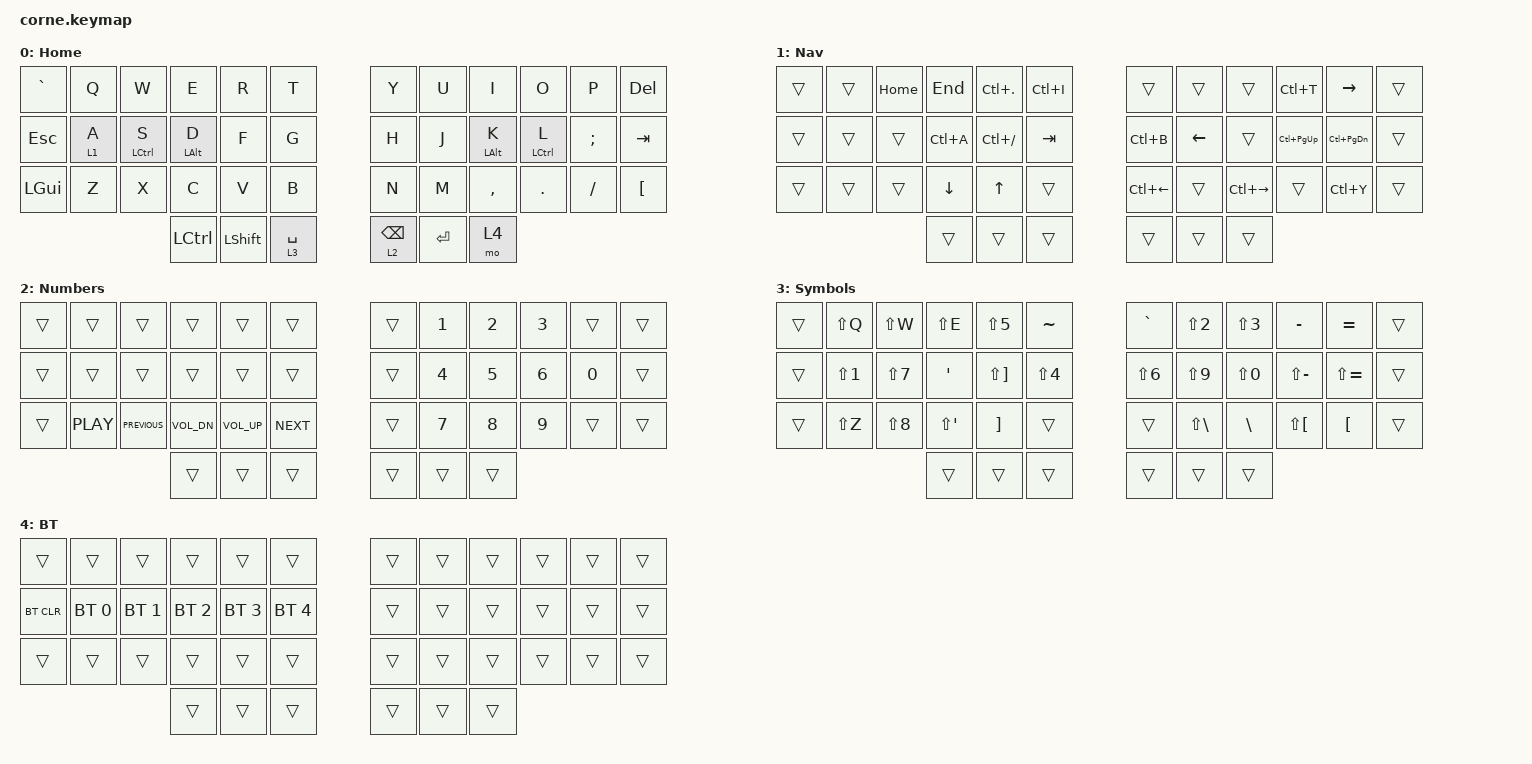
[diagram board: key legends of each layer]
/*
 * Copyright (c) 2020 The ZMK Contributors
 *
 * SPDX-License-Identifier: MIT
 */

#include <behaviors.dtsi>
#include <dt-bindings/zmk/bt.h>
#include <dt-bindings/zmk/keys.h>

&mt {
    compatible = "zmk,behavior-hold-tap";
    #binding-cells = <2>;
    flavor = "balanced";
    tapping-term-ms = <145>;
    quick-tap-ms = <150>;  // Increased to make double-taps more reliable
    require-prior-idle-ms = <100>;  // Slightly reduced to improve responsiveness
    hold-trigger-key-positions = <0>;  // This makes hold trigger immediately when another key is pressed
    hold-trigger-on-release;  // This can help with quick layer changes
};

/ {
    combos {
        compatible = "zmk,combos";

        tmux_prefix {
            bindings = <&kp LC(A)>;
            key-positions = <32 31>;
        };
    };

    behaviors {
    };

    keymap {
        compatible = "zmk,keymap";

        Home {
            // -----------------------------------------------------------------------------------------
            // |  TAB |  Q  |  W  |  E  |  R  |  T  |   |  Y  |  U   |  I  |  O  |  P  | BSPC |
            // | CTRL |  A  |  S  |  D  |  F  |  G  |   |  H  |  J   |  K  |  L  |  ;  |  '   |
            // | SHFT |  Z  |  X  |  C  |  V  |  B  |   |  N  |  M   |  ,  |  .  |  /  | ESC  |
            //                    | GUI | LWR | SPC |   | ENT | RSE  | ALT |

            bindings = <
&kp GRAVE     &kp Q    &kp W        &kp E           &kp R           &kp T          &kp Y            &kp U    &kp I           &kp O        &kp P     &kp DELETE
&kp ESCAPE    &lt 1 A  &mt LCTRL S  &mt LEFT_ALT D  &kp F           &kp G          &kp H            &kp J    &mt LEFT_ALT K  &mt LCTRL L  &kp SEMI  &kp TAB
&kp LEFT_GUI  &kp Z    &kp X        &kp C           &kp V           &kp B          &kp N            &kp M    &kp COMMA       &kp DOT      &kp FSLH  &kp LEFT_BRACKET
                                    &kp LCTRL       &kp LEFT_SHIFT  &lt 3 SPACE    &lt 2 BACKSPACE  &kp RET  &mo 4
            >;
        };

        Nav {
            bindings = <
&trans  &trans  &kp HOME  &kp END         &kp LC(PERIOD)  &kp LC(I)    &trans              &trans          &trans         &kp LC(T)      &kp RIGHT      &trans
&trans  &trans  &trans    &kp LC(A)       &kp LC(SLASH)   &kp TAB      &kp LC(B)           &kp LEFT_ARROW  &trans         &kp LC(PG_UP)  &kp LC(PG_DN)  &trans
&trans  &trans  &trans    &kp DOWN_ARROW  &kp UP_ARROW    &trans       &kp LC(LEFT_ARROW)  &trans          &kp LC(RIGHT)  &trans         &kp LC(Y)      &trans
                          &trans          &trans          &trans       &trans              &trans          &trans
            >;
        };

        Numbers {
            bindings = <
&trans  &trans      &trans          &trans        &trans        &trans        &trans  &kp NUMBER_1  &kp NUMBER_2  &kp NUMBER_3  &trans        &trans
&trans  &trans      &trans          &trans        &trans        &trans        &trans  &kp NUMBER_4  &kp NUMBER_5  &kp NUMBER_6  &kp NUMBER_0  &trans
&trans  &kp C_PLAY  &kp C_PREVIOUS  &kp C_VOL_DN  &kp C_VOL_UP  &kp K_NEXT    &trans  &kp NUMBER_7  &kp NUMBER_8  &kp NUMBER_9  &trans        &trans
                                    &trans        &trans        &trans        &trans  &trans        &trans
            >;
        };

        Symbols {
            bindings = <
&trans  &kp LS(Q)         &kp LS(W)   &kp LS(E)     &kp LS(N5)             &kp TILDE           &kp GRAVE         &kp LS(NUMBER_2)   &kp LS(NUMBER_3)  &kp MINUS             &kp EQUAL      &trans
&trans  &kp LS(NUMBER_1)  &kp LS(N7)  &kp SQT       &kp LS(RIGHT_BRACKET)  &kp LS(NUMBER_4)    &kp LS(NUMBER_6)  &kp LS(N9)         &kp LS(N0)        &kp LS(MINUS)         &kp LS(EQUAL)  &trans
&trans  &kp LS(Z)         &kp LS(N8)  &kp LS(APOS)  &kp RIGHT_BRACKET      &trans              &trans            &kp LS(BACKSLASH)  &kp BACKSLASH     &kp LS(LEFT_BRACKET)  &kp LBKT       &trans
                                      &trans        &trans                 &trans              &trans            &trans             &trans
            >;
        };

        BT {
            bindings = <
&trans      &trans        &trans        &trans        &trans        &trans          &trans  &trans  &trans  &trans  &trans  &trans
&bt BT_CLR  &bt BT_SEL 0  &bt BT_SEL 1  &bt BT_SEL 2  &bt BT_SEL 3  &bt BT_SEL 4    &trans  &trans  &trans  &trans  &trans  &trans
&trans      &trans        &trans        &trans        &trans        &trans          &trans  &trans  &trans  &trans  &trans  &trans
                                        &trans        &trans        &trans          &trans  &trans  &trans
            >;
        };
    };
};
